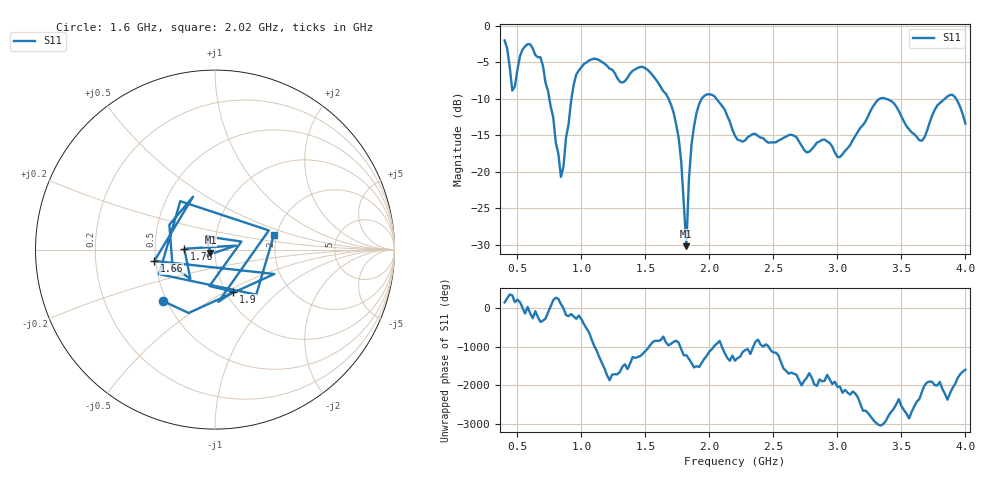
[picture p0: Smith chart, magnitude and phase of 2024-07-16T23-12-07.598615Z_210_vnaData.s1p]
!Created with skrf (http://scikit-rf.org).
# Hz S RI R 50.0
!freq ReS11 ImS11
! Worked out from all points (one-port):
!   181 points, 400 MHz to 4 GHz, reference 50 ohm
!   lowest |S11| = -30.2 dB at 1.82 GHz (marker M1), VSWR 1.06, Z = 47.5 - j1.7 ohm
!   |S11| at or under -10 dB: 1.682 GHz to 1.939 GHz (256.7 MHz wide, 14.2 % of centre); 2.056 GHz to 3.328 GHz (1.272 GHz wide, 47.2 % of centre); 3.385 GHz to 3.837 GHz (452 MHz wide, 12.5 % of centre) (the widest 3 of 5)
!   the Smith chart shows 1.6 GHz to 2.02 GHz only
!   S11 on the Smith chart (normalised r, x): 1.6 GHz: 0.48, -0.33; 1.66 GHz: 0.49, -0.07; 1.76 GHz: 0.71, +0.01; 1.9 GHz: 1.08, -0.54; 2.02 GHz: 1.93, +0.36
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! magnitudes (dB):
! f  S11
! 400 MHz  -2.0
! 460 MHz  -8.8
! 560 MHz  -2.8
! 680 MHz  -4.3
! 840 MHz  -20.7
! 860 MHz  -19.3
! 920 MHz  -10.2
! 980 MHz  -6.1
! 1.12 GHz  -4.5
! 1.3 GHz  -7.6
! 1.48 GHz  -5.6
! 1.6 GHz  -7.8
! 1.66 GHz  -9.3
! 1.76 GHz  -15.3
! 1.82 GHz  -30.2
! 1.84 GHz  -21.1
! 1.86 GHz  -16.3
! 1.9 GHz  -11.9
! 2.02 GHz  -9.4
! 2.2 GHz  -15.0
! 2.66 GHz  -15.0
! 2.76 GHz  -17.3
! 3.1 GHz  -16.3
! 3.34 GHz  -9.9
! 3.56 GHz  -14.2
! 3.66 GHz  -15.7
! 3.88 GHz  -9.4
! 4 GHz  -13.4
